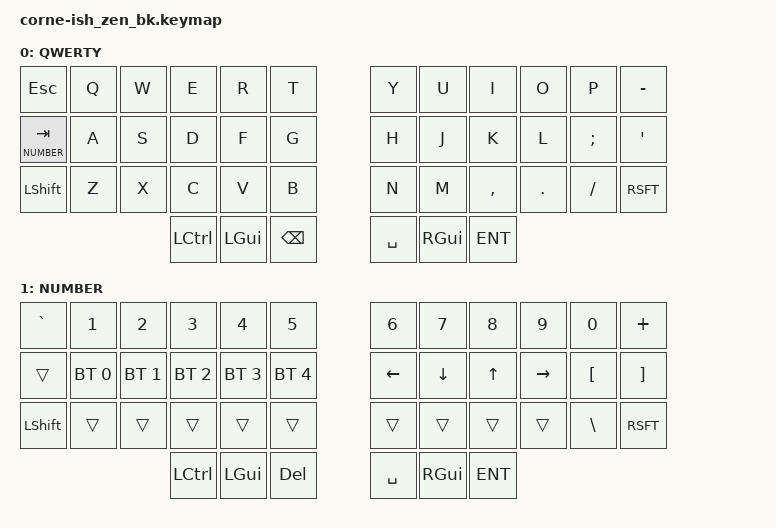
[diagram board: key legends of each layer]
/*
*
* Copyright (c) 2021 Darryl deHaan
* SPDX-License-Identifier: MIT
*
*/

#include <behaviors.dtsi>
#include <dt-bindings/zmk/keys.h>
#include <dt-bindings/zmk/bt.h>

#define QWERTY 0
#define NUMBER 1

// / {
//   chosen {
//     zmk,matrix_transform = &default_transform;
//     //zmk,matrix_transform = &five_column_transform;
//   };
// };

/ {
        keymap {
                compatible = "zmk,keymap";

                default_layer {
                        label = "QWERTY";

// |  ESC |  Q  |  W  |  E  |  R  |  T  |   |  Y  |  U   |  I  |  O  |  P  | -    |
// | TAB  |  A  |  S  |  D  |  F  |  G  |   |  H  |  J   |  K  |  L  |  ;  |  '   |
// | SHFT |  Z  |  X  |  C  |  V  |  B  |   |  N  |  M   |  ,  |  .  |  /  | SHFT |
//                    | CTRL| CMD | BKSP|   | SPC | CMD  | ENT |


// -----------------------------------------------------------------------------------------
// |  TAB |  Q  |  W  |  E  |  R  |  T  |   |  Y  |  U   |  I  |  O  |  P  | BKSP |
// | CTRL |  A  |  S  |  D  |  F  |  G  |   |  H  |  J   |  K  |  L  |  ;  |  '   |
// | SHFT |  Z  |  X  |  C  |  V  |  B  |   |  N  |  M   |  ,  |  .  |  /  | ESC  |
//                    | GUI | LWR | SPC |   | ENT | RSE  | ALT |
                        bindings = <
   &kp ESC   &kp Q &kp W &kp E &kp R &kp T   &kp Y &kp U  &kp I     &kp O   &kp P    &kp MINUS
   &lt NUMBER TAB &kp A &kp S &kp D &kp F &kp G   &kp H &kp J  &kp K     &kp L   &kp SEMI &kp SQT
   &kp LSHFT &kp Z &kp X &kp C &kp V &kp B   &kp N &kp M  &kp COMMA &kp DOT &kp FSLH &kp RSFT
                  &kp LCTL &kp LGUI &kp BSPC  &kp SPACE &kp RGUI &kp ENT
                        >;
                };
                lower_layer {
                        label = "NUMBER";
// |  `   |  1  |  2  |  3  |  4  |  5  |   |  6  |  7   |  8  |  9  |  0  | +    |
// |      |     |     |     |     |     |   | LFT |  DWN |  UP | RGT |  [  |  ]   |
// | SHFT |     |     |     |     |     |   |     |      |     |     |  \  | SHFT |
//                    | CTRL| CMD | DEL |   | SPC | CMD  | ALT |

// -----------------------------------------------------------------------------------------
// |  TAB |  1  |  2  |  3  |  4  |  5  |   |  6  |  7  |  8  |  9  |  0  | BKSP |
// | BTCLR| BT1 | BT2 | BT3 | BT4 | BT5 |   | LFT | DWN |  UP | RGT |     |      |
// | SHFT |     |     |     |     |     |   |     |     |     |     |     |      |
//                    | GUI |     | SPC |   | ENT |     | ALT |
                        bindings = <
   &kp GRAVE    &kp N1       &kp N2       &kp N3       &kp N4       &kp N5         &kp N6   &kp N7   &kp N8 &kp N9    &kp N0 &kp PLUS
   &trans     &bt BT_SEL 0 &bt BT_SEL 1 &bt BT_SEL 2 &bt BT_SEL 3 &bt BT_SEL 4   &kp LEFT &kp DOWN &kp UP &kp RIGHT &kp LBKT &kp RBKT
   &kp LSHFT  &trans       &trans       &trans       &trans       &trans         &trans   &trans   &trans &trans    &kp BSLH &kp RSFT
                                        &kp LCTL &kp LGUI &kp DEL  &kp SPACE &kp RGUI &kp ENT
                        >;
                };

        };
};
